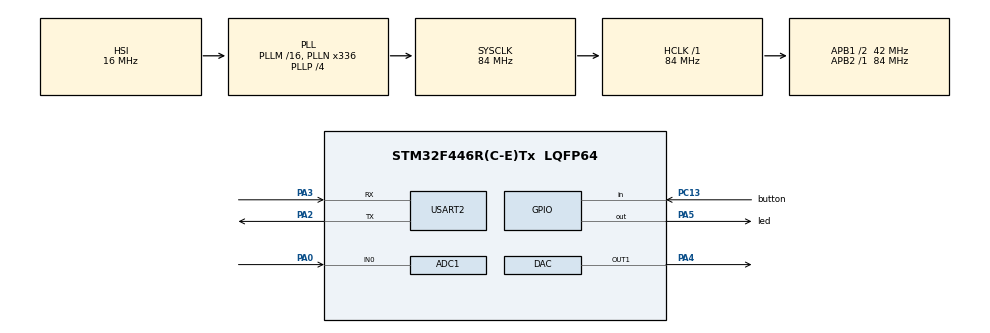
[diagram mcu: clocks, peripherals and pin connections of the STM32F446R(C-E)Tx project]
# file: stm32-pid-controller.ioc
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ADC1.Channel-0\#ChannelRegularConversion=ADC_CHANNEL_0
ADC1.ContinuousConvMode=ENABLE
ADC1.NbrOfConversionFlag=1
ADC1.Rank-0\#ChannelRegularConversion=1
ADC1.SamplingTime-0\#ChannelRegularConversion=ADC_SAMPLETIME_480CYCLES
ADC1.master=1
Mcu.Family=STM32F4
Mcu.Name=STM32F446R(C-E)Tx
Mcu.Package=LQFP64
NVIC.PriorityGroup=NVIC_PRIORITYGROUP_0
NVIC.USART2_IRQn=true\:0\:0\:false\:false\:true\:true\:true\:true
PA0-WKUP.Signal=ADCx_IN0
PA13.Mode=Serial_Wire
PA13.Signal=SYS_JTMS-SWDIO
PA14.Mode=Serial_Wire
PA14.Signal=SYS_JTCK-SWCLK
PA2.Mode=Asynchronous
PA2.Signal=USART2_TX
PA3.Mode=Asynchronous
PA3.Signal=USART2_RX
PA4.Signal=COMP_DAC1_group
PA5.GPIO_Label=led
PA5.GPIO_Speed=GPIO_SPEED_FREQ_MEDIUM
PA5.Signal=GPIO_Output
PC13.GPIO_Label=button
PC13.GPIO_PuPd=GPIO_PULLUP
PC13.Signal=GPIO_Input
ProjectManager.HeapSize=0x200
ProjectManager.StackSize=0x400
ProjectManager.TargetToolchain=STM32CubeIDE
RCC.48MHZClocksFreq_Value=84000000
RCC.AHBFreq_Value=84000000
RCC.APB1CLKDivider=RCC_HCLK_DIV2
RCC.APB1Freq_Value=42000000
RCC.APB1TimFreq_Value=84000000
RCC.APB2Freq_Value=84000000
RCC.APB2TimFreq_Value=84000000
RCC.CortexFreq_Value=84000000
RCC.FLatency-AdvancedSettings=FLASH_LATENCY_2
RCC.HCLKFreq_Value=84000000
RCC.HSE_VALUE=8000000
RCC.HSI_VALUE=16000000
RCC.PLLN=336
RCC.PLLP=RCC_PLLP_DIV4
RCC.SYSCLKFreq_VALUE=84000000
RCC.SYSCLKSource=RCC_SYSCLKSOURCE_PLLCLK
RCC.USBFreq_Value=168000000
RCC.VCOOutputFreq_Value=336000000
SH.ADCx_IN0.0=ADC1_IN0,IN0
SH.COMP_DAC1_group.0=DAC_OUT1,DAC_OUT1
USART2.VirtualMode=VM_ASYNC
board=NUCLEO-F446RE

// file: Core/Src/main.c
/* USER CODE BEGIN Header */
/**
 ******************************************************************************
 * @file           : main.c
 * @brief          : Main program body
 ******************************************************************************
 * @attention
 *
 * Copyright (c) 2026 STMicroelectronics.
 * All rights reserved.
 *
 * This software is licensed under terms that can be found in the LICENSE file
 * in the root directory of this software component.
 * If no LICENSE file comes with this software, it is provided AS-IS.
 *
 ******************************************************************************
 */
/* USER CODE END Header */
#include "main.h"

/* USER CODE BEGIN Includes */
#include "stdio.h"
#include "string.h"
#include "stdlib.h"
#include "pid.h"
/* USER CODE END Includes */

/* USER CODE BEGIN PD */

/**
 * @brief ADC voltage step size for 12-bit ADC conversion.
 *
 * This macro converts a raw ADC value into a voltage value using
 * the 3.3 V reference voltage and 12-bit ADC resolution.
 */
#define VSTEP 					3.3/4096

/**
 * @brief UART transmit buffer size in bytes.
 */
#define TX_BUFFER_SIZE 			64

/**
 * @brief UART receive command buffer size in bytes.
 */
#define RX_BUFFER_SIZE          64

/**
 * @brief Long UART command prefix used to set the PID setpoint.
 */
#define CMD_SETPOINT_LONG       "SETPOINT:"

/**
 * @brief Short UART command prefix used to set the PID setpoint.
 */
#define CMD_SETPOINT_SHORT      "SET_SP:"

/**
 * @brief Long UART command prefix used to set the proportional gain.
 */
#define CMD_KP_LONG             "KP:"

/**
 * @brief Short UART command prefix used to set the proportional gain.
 */
#define CMD_KP_SHORT            "SET_KP:"

/**
 * @brief Long UART command prefix used to set the integral gain.
 */
#define CMD_KI_LONG             "KI:"

/**
 * @brief Short UART command prefix used to set the integral gain.
 */
#define CMD_KI_SHORT            "SET_KI:"

/**
 * @brief Long UART command prefix used to set the derivative gain.
 */
#define CMD_KD_LONG             "KD:"

/**
 * @brief Short UART command prefix used to set the derivative gain.
 */
#define CMD_KD_SHORT            "SET_KD:"

/**
 * @brief UART command used to enable PID control.
 */
#define CMD_START               "START"

/**
 * @brief UART command used to disable PID control.
 */
#define CMD_STOP                "STOP"

/* USER CODE END PD */

ADC_HandleTypeDef hadc1;

DAC_HandleTypeDef hdac;

UART_HandleTypeDef huart2;

/* USER CODE BEGIN PV */

/**
 * @brief PID controller instance used by the application.
 */
PID_Controller_t pid;

/**
 * @brief Latest raw ADC conversion value.
 *
 * This variable is declared as volatile because it stores hardware-related
 * ADC data that may be updated during runtime.
 */
volatile uint32_t adcValue = 0;

/**
 * @brief Calculated input voltage value converted from the ADC reading.
 */
float voltage = 0;

/**
 * @brief UART transmit buffer used to send PID data to the Python GUI.
 */
char uartTXBuffer[TX_BUFFER_SIZE];

/**
 * @brief Single received UART character used by interrupt-based reception.
 */
uint8_t rxChar;

/**
 * @brief UART receive buffer used to store incoming command strings.
 */
char messageBuffer[RX_BUFFER_SIZE];

/**
 * @brief Current index position inside the UART receive buffer.
 */
uint8_t bufferIndex = 0;

/**
 * @brief PID controller enable flag.
 *
 * When this flag is set to 1, the PID output is computed.
 * When this flag is set to 0, the PID output is forced to zero.
 */
volatile uint8_t pidEnabled = 0;
/* USER CODE END PV */

void SystemClock_Config(void);
static void MX_GPIO_Init(void);
static void MX_USART2_UART_Init(void);
static void MX_ADC1_Init(void);
static void MX_DAC_Init(void);
/* USER CODE BEGIN PFP */

/**
 * @brief Redirects printf output to the ITM debug interface.
 *
 * @param file File descriptor parameter required by the low-level write function.
 * @param ptr Pointer to the data buffer to be written.
 * @param len Number of bytes to write.
 * @return Number of bytes written.
 */
int _write(int file, char *ptr, int len);

/**
 * @brief Reads the ADC value and converts it to voltage.
 *
 * @param hadc Pointer to the ADC handle.
 * @param adcValue Pointer to the variable where the raw ADC value will be stored.
 * @return Converted voltage value.
 */
float readVoltage(ADC_HandleTypeDef *hadc, volatile uint32_t *adcValue);

/**
 * @brief Maps a percentage value to a 12-bit DAC value.
 *
 * @param percent Percentage value between 0.0 and 100.0.
 * @return Corresponding 12-bit DAC value between 0 and 4095.
 */
uint16_t mapPercentageToDAC(float percent);

/**
 * @brief Processes a UART command received from the GUI.
 *
 * @param command Pointer to the null-terminated command string.
 */
void ProcessUARTCommand(char *command);

/**
 * @brief Clears the UART receive buffer and resets its index.
 */
void ClearUARTBuffer(void);
/* USER CODE END PFP */

/* USER CODE BEGIN 0 */

/**
 * @brief Redirects printf output to the ITM debug interface.
 *
 * This function is used by the C standard library when printf is called.
 * Each character in the provided buffer is sent through ITM_SendChar.
 *
 * @param file File descriptor parameter required by the low-level write function.
 * @param ptr Pointer to the character buffer to be transmitted.
 * @param len Number of characters to transmit.
 * @return Number of transmitted characters.
 */
int _write(int file, char *ptr, int len) {
	int i = 0;
	for (i = 0; i < len; i++) {
		ITM_SendChar((*ptr++));
	}
	return len;
}

/**
 * @brief Reads the ADC input and converts the raw value into voltage.
 *
 * This function starts ADC conversion, waits for conversion completion,
 * reads the raw ADC value, stops the ADC and calculates the corresponding
 * voltage using the defined ADC voltage step.
 *
 * @param hadc Pointer to the ADC handle.
 * @param adcValue Pointer to the variable where the raw ADC result will be stored.
 * @return Converted voltage value.
 */
float readVoltage(ADC_HandleTypeDef *hadc, volatile uint32_t *adcValue) {
	float voltage;

	HAL_ADC_Start(hadc);
	if (HAL_ADC_PollForConversion(hadc, HAL_MAX_DELAY) == HAL_OK) {
		*adcValue = HAL_ADC_GetValue(hadc);
	}
	HAL_ADC_Stop(hadc);

	voltage = (float) (*adcValue * VSTEP);

	return voltage;
}

/**
 * @brief Converts a percentage value into a 12-bit DAC output value.
 *
 * The input percentage is limited between 0.0 and 100.0 before conversion.
 * The result is scaled to the 12-bit DAC range from 0 to 4095.
 *
 * @param percent Percentage value to be converted.
 * @return 12-bit DAC value corresponding to the given percentage.
 */
uint16_t mapPercentageToDAC(float percent) {
	if (percent > 100.0f) {
		percent = 100.0f;
	}

	if (percent < 0.0f) {
		percent = 0.0f;
	}

	return (uint16_t) ((percent / 100.0f) * 4095.0f + 0.5f);
}

/* USER CODE END 0 */

int main(void) {

	/* MCU Configuration--------------------------------------------------------*/

	/* Reset of all peripherals, Initializes the Flash interface and the Systick. */
	HAL_Init();

	/* Configure the system clock */
	SystemClock_Config();

	/* Initialize all configured peripherals */
	MX_GPIO_Init();
	MX_USART2_UART_Init();
	MX_ADC1_Init();
	MX_DAC_Init();
	/* USER CODE BEGIN 2 */
	/**
	 * @brief Initializes the PID controller with default gain values and limits.
	 */
	PID_Init(&pid, 20.0f, 15.0f, 0.2f, 0.1f, 0.0f, 100.0f);

	/**
	 * @brief Sets the initial PID setpoint value.
	 */
	PID_SetPoint(&pid, 2.5f);

	/**
	 * @brief Starts DAC channel 1 for analog output generation.
	 */
	HAL_DAC_Start(&hdac, DAC_CHANNEL_1);

	/**
	 * @brief Stores the initial system tick value for periodic timing control.
	 */
	uint32_t lastTime = HAL_GetTick();

	/**
	 * @brief Starts interrupt-based UART reception for one character.
	 */
	HAL_UART_Receive_IT(&huart2, &rxChar, 1);
	/* USER CODE END 2 */

	/* Infinite loop */
	while (1) {

		/* USER CODE BEGIN 3 */

		/**
		 * @brief Gets the current system tick value for periodic PID execution.
		 */
		uint32_t currentTime = HAL_GetTick();

		/**
		 * @brief Executes the PID control loop every 100 ms.
		 */
		if (currentTime - lastTime >= 100) {
			/**
			 * @brief Reads the current process voltage from the ADC.
			 */
			voltage = readVoltage(&hadc1, &adcValue);

			/**
			 * @brief Computes the PID output when PID control is enabled.
			 */
			if (pidEnabled) {
				pid.output = PID_Compute(&pid, voltage);
			} else {
				pid.output = 0.0f;
			}

			/**
			 * @brief Writes the PID output percentage to DAC channel 1.
			 */
			HAL_DAC_SetValue(&hdac, DAC_CHANNEL_1, DAC_ALIGN_12B_R,
					mapPercentageToDAC(pid.output));

			/**
			 * @brief Sends PID data to the ITM debug console.
			 */
			printf("SetPoint: %.3f Voltage: %.4f PIDOutput: %.3f\r\n",
					pid.setPoint, voltage, pid.output);

			/**
			 * @brief Formats PID data into the UART transmit buffer.
			 */
			snprintf(uartTXBuffer, sizeof(uartTXBuffer),
					"SetPoint: %.3f Voltage: %.4f PIDOutput: %.3f\r\n",
					pid.setPoint, voltage, pid.output);

			/**
			 * @brief Transmits PID data to the Python GUI over UART.
			 */
			HAL_UART_Transmit(&huart2, (uint8_t*) uartTXBuffer,
					strlen(uartTXBuffer), HAL_MAX_DELAY);

			/**
			 * @brief Updates the last execution time of the PID loop.
			 */
			lastTime = currentTime;
		}

		/**
		 * @brief Adds a short delay to reduce continuous CPU polling load.
		 */
		HAL_Delay(5);
	}
	/* USER CODE END 3 */
}

void SystemClock_Config(void) {
	RCC_OscInitTypeDef RCC_OscInitStruct = { 0 };
	RCC_ClkInitTypeDef RCC_ClkInitStruct = { 0 };

	/** Configure the main internal regulator output voltage
	 */
	__HAL_RCC_PWR_CLK_ENABLE();
	__HAL_PWR_VOLTAGESCALING_CONFIG(PWR_REGULATOR_VOLTAGE_SCALE3);

	/** Initializes the RCC Oscillators according to the specified parameters
	 * in the RCC_OscInitTypeDef structure.
	 */
	RCC_OscInitStruct.OscillatorType = RCC_OSCILLATORTYPE_HSI;
	RCC_OscInitStruct.HSIState = RCC_HSI_ON;
	RCC_OscInitStruct.HSICalibrationValue = RCC_HSICALIBRATION_DEFAULT;
	RCC_OscInitStruct.PLL.PLLState = RCC_PLL_ON;
	RCC_OscInitStruct.PLL.PLLSource = RCC_PLLSOURCE_HSI;
	RCC_OscInitStruct.PLL.PLLM = 16;
	RCC_OscInitStruct.PLL.PLLN = 336;
	RCC_OscInitStruct.PLL.PLLP = RCC_PLLP_DIV4;
	RCC_OscInitStruct.PLL.PLLQ = 2;
	RCC_OscInitStruct.PLL.PLLR = 2;
	if (HAL_RCC_OscConfig(&RCC_OscInitStruct) != HAL_OK) {
		Error_Handler();
	}

	/** Initializes the CPU, AHB and APB buses clocks
	 */
	RCC_ClkInitStruct.ClockType = RCC_CLOCKTYPE_HCLK | RCC_CLOCKTYPE_SYSCLK
			| RCC_CLOCKTYPE_PCLK1 | RCC_CLOCKTYPE_PCLK2;
	RCC_ClkInitStruct.SYSCLKSource = RCC_SYSCLKSOURCE_PLLCLK;
	RCC_ClkInitStruct.AHBCLKDivider = RCC_SYSCLK_DIV1;
	RCC_ClkInitStruct.APB1CLKDivider = RCC_HCLK_DIV2;
	RCC_ClkInitStruct.APB2CLKDivider = RCC_HCLK_DIV1;

	if (HAL_RCC_ClockConfig(&RCC_ClkInitStruct, FLASH_LATENCY_2) != HAL_OK) {
		Error_Handler();
	}
}

static void MX_ADC1_Init(void) {

	ADC_ChannelConfTypeDef sConfig = { 0 };

	/** Configure the global features of the ADC (Clock, Resolution, Data Alignment and number of conversion)
	 */
	hadc1.Instance = ADC1;
	hadc1.Init.ClockPrescaler = ADC_CLOCK_SYNC_PCLK_DIV4;
	hadc1.Init.Resolution = ADC_RESOLUTION_12B;
	hadc1.Init.ScanConvMode = DISABLE;
	hadc1.Init.ContinuousConvMode = ENABLE;
	hadc1.Init.DiscontinuousConvMode = DISABLE;
	hadc1.Init.ExternalTrigConvEdge = ADC_EXTERNALTRIGCONVEDGE_NONE;
	hadc1.Init.ExternalTrigConv = ADC_SOFTWARE_START;
	hadc1.Init.DataAlign = ADC_DATAALIGN_RIGHT;
	hadc1.Init.NbrOfConversion = 1;
	hadc1.Init.DMAContinuousRequests = DISABLE;
	hadc1.Init.EOCSelection = ADC_EOC_SINGLE_CONV;
	if (HAL_ADC_Init(&hadc1) != HAL_OK) {
		Error_Handler();
	}

	/** Configure for the selected ADC regular channel its corresponding rank in the sequencer and its sample time.
	 */
	sConfig.Channel = ADC_CHANNEL_0;
	sConfig.Rank = 1;
	sConfig.SamplingTime = ADC_SAMPLETIME_480CYCLES;
	if (HAL_ADC_ConfigChannel(&hadc1, &sConfig) != HAL_OK) {
		Error_Handler();
	}

}

static void MX_DAC_Init(void) {

	DAC_ChannelConfTypeDef sConfig = { 0 };

	/** DAC Initialization
	 */
	hdac.Instance = DAC;
	if (HAL_DAC_Init(&hdac) != HAL_OK) {
		Error_Handler();
	}

	/** DAC channel OUT1 config
	 */
	sConfig.DAC_Trigger = DAC_TRIGGER_NONE;
	sConfig.DAC_OutputBuffer = DAC_OUTPUTBUFFER_ENABLE;
	if (HAL_DAC_ConfigChannel(&hdac, &sConfig, DAC_CHANNEL_1) != HAL_OK) {
		Error_Handler();
	}

}

static void MX_USART2_UART_Init(void) {

	huart2.Instance = USART2;
	huart2.Init.BaudRate = 115200;
	huart2.Init.WordLength = UART_WORDLENGTH_8B;
	huart2.Init.StopBits = UART_STOPBITS_1;
	huart2.Init.Parity = UART_PARITY_NONE;
	huart2.Init.Mode = UART_MODE_TX_RX;
	huart2.Init.HwFlowCtl = UART_HWCONTROL_NONE;
	huart2.Init.OverSampling = UART_OVERSAMPLING_16;
	if (HAL_UART_Init(&huart2) != HAL_OK) {
		Error_Handler();
	}

}

static void MX_GPIO_Init(void) {
	GPIO_InitTypeDef GPIO_InitStruct = { 0 };

	/* GPIO Ports Clock Enable */
	__HAL_RCC_GPIOC_CLK_ENABLE();
	__HAL_RCC_GPIOA_CLK_ENABLE();

	/*Configure GPIO pin Output Level */
	HAL_GPIO_WritePin(led_GPIO_Port, led_Pin, GPIO_PIN_RESET);

	/*Configure GPIO pin : button_Pin */
	GPIO_InitStruct.Pin = button_Pin;
	GPIO_InitStruct.Mode = GPIO_MODE_INPUT;
	GPIO_InitStruct.Pull = GPIO_PULLUP;
	HAL_GPIO_Init(button_GPIO_Port, &GPIO_InitStruct);

	/*Configure GPIO pin : led_Pin */
	GPIO_InitStruct.Pin = led_Pin;
	GPIO_InitStruct.Mode = GPIO_MODE_OUTPUT_PP;
	GPIO_InitStruct.Pull = GPIO_NOPULL;
	GPIO_InitStruct.Speed = GPIO_SPEED_FREQ_MEDIUM;
	HAL_GPIO_Init(led_GPIO_Port, &GPIO_InitStruct);

}

/* USER CODE BEGIN 4 */

/**
 * @brief Clears the UART receive buffer.
 *
 * This function resets the receive buffer index and clears all bytes in
 * the UART command buffer.
 */
void ClearUARTBuffer(void) {
	bufferIndex = 0;
	memset(messageBuffer, 0, RX_BUFFER_SIZE);
}

/**
 * @brief Processes UART commands received from the Python GUI.
 *
 * This function checks the received command string and updates PID parameters
 * or PID enable state according to the command content.
 *
 * Supported commands:
 * - SETPOINT:
 * - SET_SP:
 * - KP:
 * - SET_KP:
 * - KI:
 * - SET_KI:
 * - KD:
 * - SET_KD:
 * - START
 * - STOP
 *
 * @param command Pointer to the received null-terminated UART command string.
 */
void ProcessUARTCommand(char *command) {
	if (strncmp(command, CMD_SETPOINT_LONG, strlen(CMD_SETPOINT_LONG)) == 0) {
		float userSetPoint = atof(command + strlen(CMD_SETPOINT_LONG));
		PID_SetPoint(&pid, userSetPoint);
	} else if (strncmp(command, CMD_SETPOINT_SHORT, strlen(CMD_SETPOINT_SHORT))
			== 0) {
		float userSetPoint = atof(command + strlen(CMD_SETPOINT_SHORT));
		PID_SetPoint(&pid, userSetPoint);
	} else if (strncmp(command, CMD_KP_LONG, strlen(CMD_KP_LONG)) == 0) {
		float userKp = atof(command + strlen(CMD_KP_LONG));
		PID_SetKp(&pid, userKp);
	} else if (strncmp(command, CMD_KP_SHORT, strlen(CMD_KP_SHORT)) == 0) {
		float userKp = atof(command + strlen(CMD_KP_SHORT));
		PID_SetKp(&pid, userKp);
	} else if (strncmp(command, CMD_KI_LONG, strlen(CMD_KI_LONG)) == 0) {
		float userKi = atof(command + strlen(CMD_KI_LONG));
		PID_SetKi(&pid, userKi);
	} else if (strncmp(command, CMD_KI_SHORT, strlen(CMD_KI_SHORT)) == 0) {
		float userKi = atof(command + strlen(CMD_KI_SHORT));
		PID_SetKi(&pid, userKi);
	} else if (strncmp(command, CMD_KD_LONG, strlen(CMD_KD_LONG)) == 0) {
		float userKd = atof(command + strlen(CMD_KD_LONG));
		PID_SetKd(&pid, userKd);
	} else if (strncmp(command, CMD_KD_SHORT, strlen(CMD_KD_SHORT)) == 0) {
		float userKd = atof(command + strlen(CMD_KD_SHORT));
		PID_SetKd(&pid, userKd);
	} else if (strcmp(command, CMD_START) == 0) {
		pidEnabled = 1;
	} else if (strcmp(command, CMD_STOP) == 0) {
		pidEnabled = 0;
	}
}

/**
 * @brief UART receive complete callback.
 *
 * This callback is triggered when one character is received over UART.
 * Incoming characters are stored in the message buffer until a line ending
 * character is received. When a complete command is detected, the command
 * is processed and the buffer is cleared.
 *
 * @param huart Pointer to the UART handle that triggered the callback.
 */
void HAL_UART_RxCpltCallback(UART_HandleTypeDef *huart) {
	if (huart->Instance == USART2) {

		if (rxChar == '\r' || rxChar == '\n') {
			if (bufferIndex > 0) {
				messageBuffer[bufferIndex] = '\0';
				ProcessUARTCommand(messageBuffer);
			}

			ClearUARTBuffer();
		} else {
			if (bufferIndex < RX_BUFFER_SIZE - 1) {
				messageBuffer[bufferIndex++] = (char) rxChar;
				messageBuffer[bufferIndex] = '\0';
			} else {
				ClearUARTBuffer();
			}
		}

		HAL_UART_Receive_IT(&huart2, &rxChar, 1);
	}
}

/* USER CODE END 4 */

void Error_Handler(void) {
	__disable_irq();
	while (1) {
	}
}
